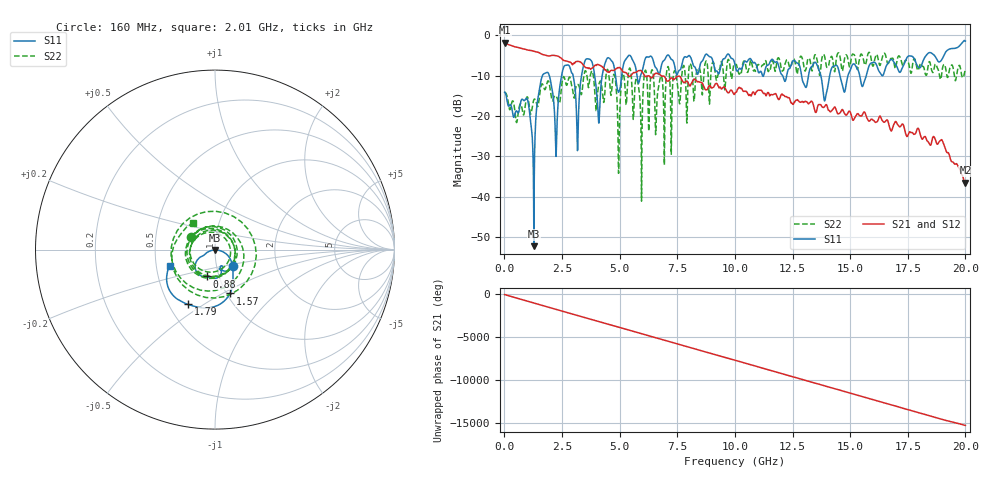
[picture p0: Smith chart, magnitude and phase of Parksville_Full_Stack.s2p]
! Created Mon Mar  2 11:11:27 2026
# hz S ma R 100
! 2 Port Network Data from SP1.SP block
! freq  magS11  angS11  magS21  angS21  magS12  angS12  magS22  angS22
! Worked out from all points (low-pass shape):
!   2000 points, 10 MHz to 20 GHz, reference 100 ohm
!   highest |S21| = -1.92 dB at 10 MHz (marker M1); lowest = -36.5 dB at 20 GHz (marker M2)
!   |S21| within 3 dB of the highest: start of sweep to 1.756 GHz
!   lowest |S11| = -52.2 dB at 1.28 GHz (marker M3), VSWR 1.00, Z = 100 - j0.401 ohm
!   |S11| at or under -10 dB: start of sweep to 1.652 GHz; 1.948 GHz to 2.483 GHz (534.7 MHz wide, 24.1 % of centre); 13.73 GHz to 14.11 GHz (383.7 MHz wide, 2.76 % of centre)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
!   |S22| runs from -41.0 to -4.3 dB; largest |S21 - S12| = 0
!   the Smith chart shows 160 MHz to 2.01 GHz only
!   S11 on the Smith chart (normalised r, x): 160 MHz: 1.20, -0.22; 880 MHz: 0.87, -0.27; 1.57 GHz: 1.04, -0.54; 1.79 GHz: 0.62, -0.43; 2.01 GHz: 0.59, -0.12
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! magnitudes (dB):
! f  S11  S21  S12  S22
! 10 MHz  -14.1  -1.9  -1.9  -14.1
! 160 MHz  -17.4  -2.3  -2.3  -16.4
! 880 MHz  -16.1  -3.5  -3.5  -18.5
! 1.28 GHz  -52.2  -4.0  -4.0  -16.0
! 1.57 GHz  -11.8  -4.6  -4.6  -13.2
! 1.79 GHz  -9.4  -5.0  -5.0  -13.1
! 2.01 GHz  -11.5  -5.1  -5.1  -14.3
! 2.24 GHz  -30.0  -5.1  -5.1  -15.1
! 2.6 GHz  -7.7  -6.3  -6.3  -10.5
! 3.17 GHz  -28.6  -6.5  -6.5  -12.2
! 3.35 GHz  -10.0  -6.9  -6.9  -14.6
! 4.08 GHz  -20.8  -7.3  -7.3  -12.8
! 4.76 GHz  -7.8  -8.7  -8.7  -9.7
! 4.95 GHz  -14.1  -8.1  -8.1  -34.1
! 5.43 GHz  -5.0  -10.2  -10.2  -8.2
! 5.92 GHz  -9.8  -8.8  -8.8  -21.5
! 6.68 GHz  -9.4  -9.6  -9.6  -13.1
! 10.01 GHz  -7.5  -14.3  -14.3  -7.4
! 13.34 GHz  -7.8  -16.4  -16.4  -8.8
! 13.92 GHz  -15.9  -17.4  -17.4  -6.0
! 16.67 GHz  -6.7  -21.9  -21.9  -6.9
! 20 GHz  -1.5  -36.5  -36.5  -8.4
